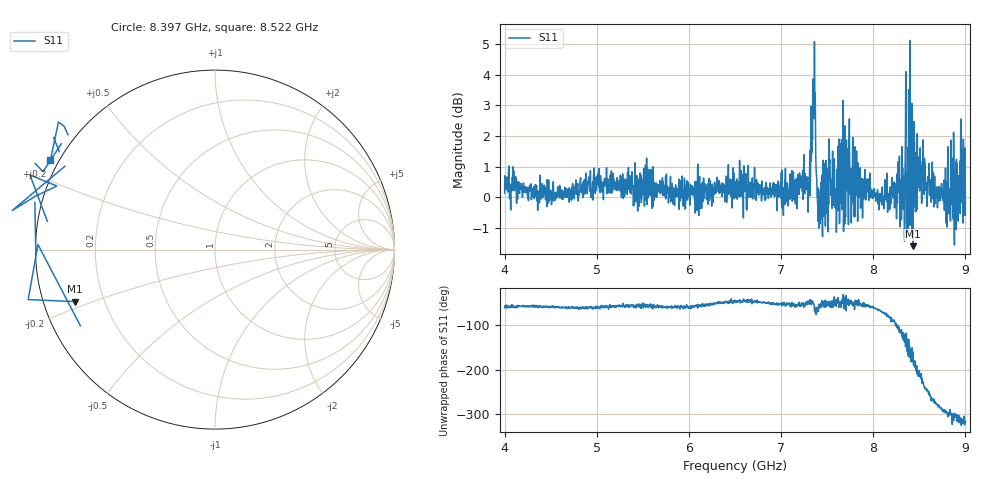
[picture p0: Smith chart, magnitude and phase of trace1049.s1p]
! Created with skrf 1.8.0 (http://scikit-rf.org).
# Hz S RI R 50.0
!freq ReS11 ImS11
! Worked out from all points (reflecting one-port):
!   1601 points, 4 GHz to 9 GHz, reference 50 ohm
!   lowest |S11| = -1.6 dB at 8.431 GHz (marker M1), VSWR 10.99, Z = 4.69 - j8.89 ohm
!   phase of S11 starts at -60 deg and turns -256 deg over the sweep
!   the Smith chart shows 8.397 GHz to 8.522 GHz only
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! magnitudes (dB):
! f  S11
! 4 GHz  0.1
! 4.625 GHz  -0.1
! 5.25 GHz  0.3
! 5.875 GHz  0.2
! 6.5 GHz  0.5
! 7.125 GHz  0.1
! 7.294 GHz  -0.5
! 7.316 GHz  0.1
! 7.35 GHz  3.1
! 7.369 GHz  3.4
! 7.4 GHz  0.3
! 7.425 GHz  -0.1
! 7.538 GHz  0.5
! 7.612 GHz  0.7
! 7.65 GHz  1.7
! 7.75 GHz  0.4
! 8.097 GHz  0.3
! 8.294 GHz  -0.5
! 8.316 GHz  0.6
! 8.334 GHz  0.6
! 8.347 GHz  1.3
! 8.375 GHz  0.5
! 8.431 GHz  -1.6
! 8.812 GHz  0.2
! 8.834 GHz  -0.1
! 8.906 GHz  0.7
! 8.972 GHz  0.6
! 9 GHz  -0.6
